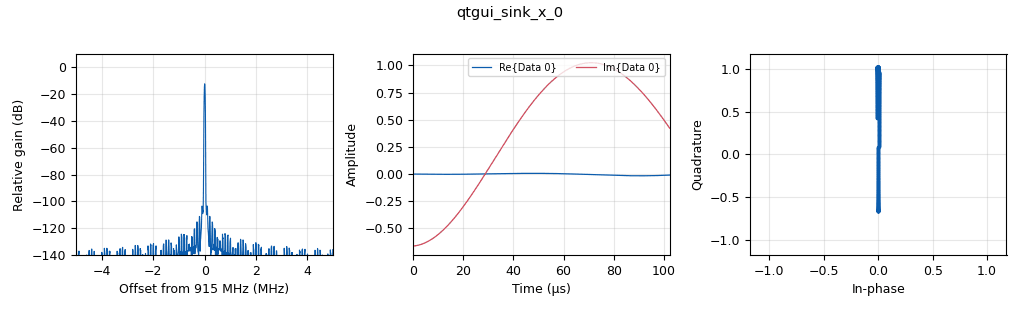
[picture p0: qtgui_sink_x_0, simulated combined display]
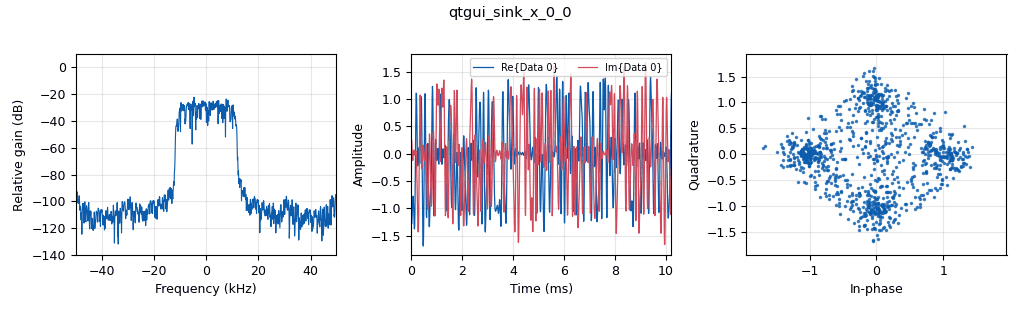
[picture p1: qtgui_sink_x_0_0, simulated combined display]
<?xml version='1.0' encoding='utf-8'?>
<?grc format='1' created='3.7.10'?>
<flow_graph>
<block>
<key>options</key>
<param><key>id</key><value>grc_tx</value></param>
<param><key>author</key><value>GMU Senior Design Team</value></param>
<param><key>generate_options</key><value>qt_gui</value></param>
<param><key>run_options</key><value>run</value></param>
<param><key>title</key><value>GNU Radio Tx Code</value></param>
</block>
<block>
<key>variable</key>
<param><key>id</key><value>BB_samp_rate</value></param>
<param><key>value</key><value>100e3</value></param>
</block>
<block>
<key>variable</key>
<param><key>id</key><value>RF_samp_rate</value></param>
<param><key>value</key><value>10e6</value></param>
</block>
<block>
<key>variable</key>
<param><key>id</key><value>baud_rate</value></param>
<param><key>value</key><value>20e3</value></param>
</block>
<block>
<key>variable</key>
<param><key>id</key><value>bb_bw</value></param>
<param><key>value</key><value>13e3</value></param>
</block>
<block>
<key>variable</key>
<param><key>id</key><value>const_points</value></param>
<param><key>value</key><value>4</value></param>
</block>
<block>
<key>variable</key>
<param><key>id</key><value>rf_bw</value></param>
<param><key>value</key><value>5e6</value></param>
</block>
<block>
<key>variable</key>
<param><key>id</key><value>rf_freq</value></param>
<param><key>value</key><value>915e6</value></param>
</block>
<block>
<key>variable</key>
<param><key>id</key><value>sps</value></param>
<param><key>value</key><value>int(BB_samp_rate/baud_rate)</value></param>
</block>
<block>
<key>analog_random_source_x</key>
<param><key>id</key><value>analog_random_source_x_0</value></param>
<param><key>max</key><value>256</value></param>
<param><key>min</key><value>0</value></param>
<param><key>num_samps</key><value>1000</value></param>
<param><key>type</key><value>byte</value></param>
<param><key>repeat</key><value>True</value></param>
</block>
<block>
<key>blocks_multiply_const_vxx</key>
<param><key>id</key><value>blocks_multiply_const_vxx_0_0_0</value></param>
<param><key>const</key><value>.6</value></param>
<param><key>type</key><value>complex</value></param>
</block>
<block>
<key>blocks_udp_source</key>
<param><key>id</key><value>blocks_udp_source_0</value></param>
<param><key>_enabled</key><value>0</value></param>
<param><key>ipaddr</key><value>127.0.0.1</value></param>
<param><key>eof</key><value>True</value></param>
<param><key>type</key><value>byte</value></param>
<param><key>psize</key><value>1472</value></param>
<param><key>port</key><value>40431</value></param>
<param><key>vlen</key><value>1</value></param>
</block>
<block>
<key>digital_psk_mod</key>
<param><key>id</key><value>digital_psk_mod_0_0_0</value></param>
<param><key>differential</key><value>True</value></param>
<param><key>excess_bw</key><value>0.20</value></param>
<param><key>mod_code</key><value>"gray"</value></param>
<param><key>constellation_points</key><value>const_points</value></param>
<param><key>samples_per_symbol</key><value>sps</value></param>
</block>
<block>
<key>osmosdr_sink</key>
<param><key>id</key><value>osmosdr_sink_0</value></param>
<param><key>ant0</key><value>BAND1</value></param>
<param><key>bb_gain0</key><value>20</value></param>
<param><key>bw0</key><value>rf_bw</value></param>
<param><key>freq0</key><value>rf_freq</value></param>
<param><key>if_gain0</key><value>20</value></param>
<param><key>gain0</key><value>20</value></param>
<param><key>args</key><value>soapy=0,driver=lime</value></param>
<param><key>type</key><value>fc32</value></param>
<param><key>sample_rate</key><value>RF_samp_rate</value></param>
<param><key>sync</key><value></value></param>
</block>
<block>
<key>qtgui_sink_x</key>
<param><key>id</key><value>qtgui_sink_x_0</value></param>
<param><key>bw</key><value>RF_samp_rate</value></param>
<param><key>fc</key><value>rf_freq</value></param>
<param><key>freqchangevar</key><value>None</value></param>
<param><key>fftsize</key><value>1024</value></param>
<param><key>showports</key><value>True</value></param>
<param><key>type</key><value>complex</value></param>
<param><key>wintype</key><value>firdes.WIN_BLACKMAN_hARRIS</value></param>
</block>
<block>
<key>qtgui_sink_x</key>
<param><key>id</key><value>qtgui_sink_x_0_0</value></param>
<param><key>bw</key><value>BB_samp_rate</value></param>
<param><key>fc</key><value>0</value></param>
<param><key>freqchangevar</key><value>None</value></param>
<param><key>fftsize</key><value>1024</value></param>
<param><key>showports</key><value>True</value></param>
<param><key>type</key><value>complex</value></param>
<param><key>wintype</key><value>firdes.WIN_BLACKMAN_hARRIS</value></param>
</block>
<block>
<key>qtgui_tab_widget</key>
<param><key>id</key><value>qtgui_tab_widget_0</value></param>
<param><key>label0</key><value>BB_SampRate</value></param>
<param><key>label1</key><value>RF_SampRate</value></param>
<param><key>num_tabs</key><value>2</value></param>
</block>
<block>
<key>rational_resampler_xxx</key>
<param><key>id</key><value>rational_resampler_xxx_1</value></param>
<param><key>decim</key><value>1</value></param>
<param><key>interp</key><value>int(RF_samp_rate/BB_samp_rate)</value></param>
<param><key>taps</key><value></value></param>
<param><key>type</key><value>ccc</value></param>
</block>
<connection><source_block_id>analog_random_source_x_0</source_block_id><sink_block_id>digital_psk_mod_0_0_0</sink_block_id><source_key>0</source_key><sink_key>0</sink_key></connection>
<connection><source_block_id>blocks_multiply_const_vxx_0_0_0</source_block_id><sink_block_id>osmosdr_sink_0</sink_block_id><source_key>0</source_key><sink_key>0</sink_key></connection>
<connection><source_block_id>blocks_multiply_const_vxx_0_0_0</source_block_id><sink_block_id>qtgui_sink_x_0</sink_block_id><source_key>0</source_key><sink_key>0</sink_key></connection>
<connection><source_block_id>blocks_udp_source_0</source_block_id><sink_block_id>digital_psk_mod_0_0_0</sink_block_id><source_key>0</source_key><sink_key>0</sink_key></connection>
<connection><source_block_id>digital_psk_mod_0_0_0</source_block_id><sink_block_id>qtgui_sink_x_0_0</sink_block_id><source_key>0</source_key><sink_key>0</sink_key></connection>
<connection><source_block_id>digital_psk_mod_0_0_0</source_block_id><sink_block_id>rational_resampler_xxx_1</sink_block_id><source_key>0</source_key><sink_key>0</sink_key></connection>
<connection><source_block_id>rational_resampler_xxx_1</source_block_id><sink_block_id>blocks_multiply_const_vxx_0_0_0</sink_block_id><source_key>0</source_key><sink_key>0</sink_key></connection>
</flow_graph>
